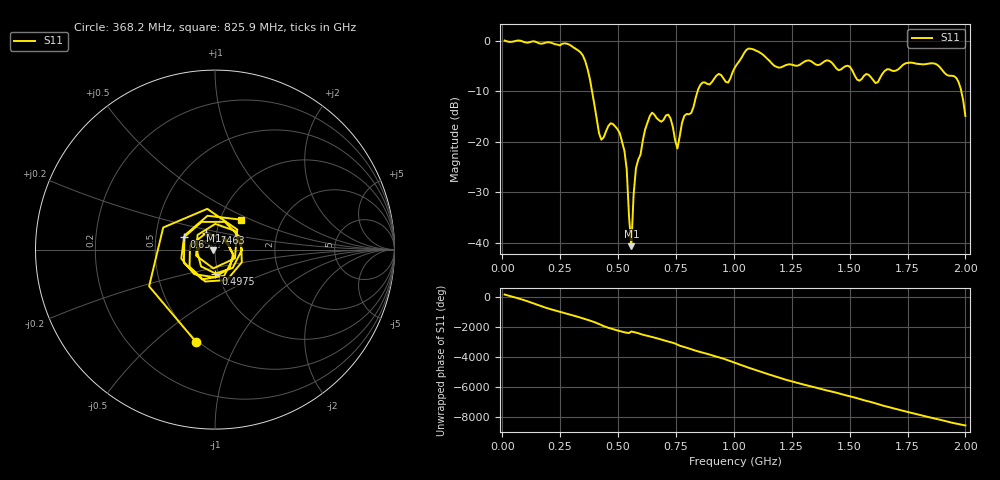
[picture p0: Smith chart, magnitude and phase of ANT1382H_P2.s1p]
!Created with skrf (http://scikit-rf.org).
# Hz S RI R 50.0
!freq ReS11 ImS11
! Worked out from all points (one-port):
!   201 points, 10 MHz to 2 GHz, reference 50 ohm
!   lowest |S11| = -40.7 dB at 557.2 MHz (marker M1), VSWR 1.02, Z = 49.1 - j0.337 ohm
!   |S11| at or under -10 dB: 387.8 MHz to 843.3 MHz (455.5 MHz wide, 74 % of centre); 1.982 GHz to end of sweep
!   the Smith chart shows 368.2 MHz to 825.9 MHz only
!   S11 on the Smith chart (normalised r, x): 368.2 MHz: 0.49, -0.69; 497.6 MHz: 0.97, -0.26; 656.8 MHz: 0.70, +0.10; 746.3 MHz: 0.89, +0.16; 825.9 MHz: 1.26, +0.44
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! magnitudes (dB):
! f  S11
! 10 MHz  0.0
! 258.8 MHz  -0.6
! 368.2 MHz  -5.6
! 427.9 MHz  -19.6
! 467.7 MHz  -16.3
! 497.6 MHz  -17.5
! 507.5 MHz  -18.3
! 537.4 MHz  -25.4
! 557.2 MHz  -40.7
! 567.2 MHz  -30.4
! 577.1 MHz  -25.3
! 617 MHz  -17.5
! 656.8 MHz  -14.6
! 716.5 MHz  -14.6
! 746.3 MHz  -19.6
! 756.2 MHz  -21.3
! 786.1 MHz  -14.9
! 825.9 MHz  -13.1
! 865.7 MHz  -8.2
! 975.1 MHz  -8.3
! 1.005 GHz  -5.2
! 1.065 GHz  -1.5
! 1.254 GHz  -4.8
! 1.502 GHz  -5.2
! 1.612 GHz  -8.4
! 1.751 GHz  -4.4
! 1.96 GHz  -7.3
! 2 GHz  -14.9
